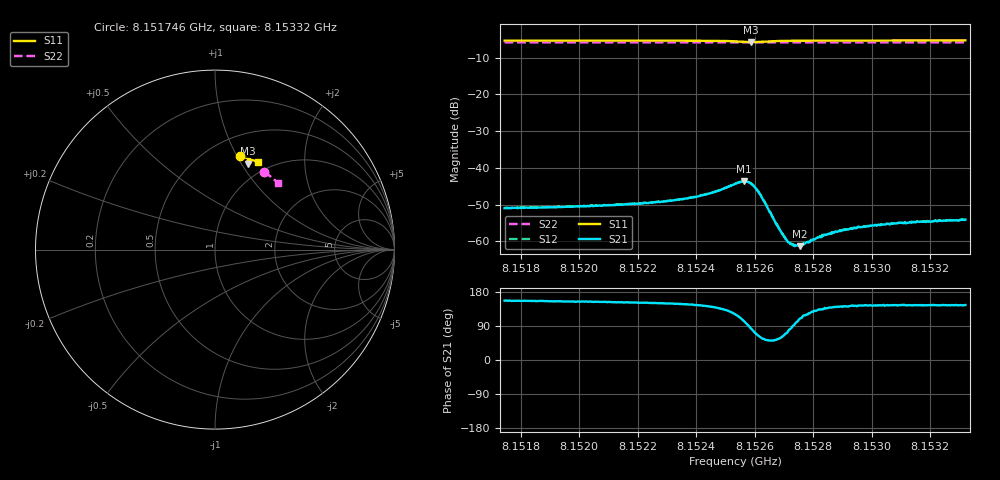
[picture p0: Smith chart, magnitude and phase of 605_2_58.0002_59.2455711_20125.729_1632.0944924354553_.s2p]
#  HZ  S  RI  R  50.00
! Rohde & Schwarz Vector Network Analyzer
! Rohde-Schwarz,ZNB20-2Port,1311601062101988,3.16
! Created: UTC 3/21/2024, 1:17:23 AM
! freq[Hz]  re:S11  im:S11  re:S21  im:S21  re:S12  im:S12  re:S22  im:S22
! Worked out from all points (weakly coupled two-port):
!   401 points, 8.151746 GHz to 8.15332 GHz, reference 50 ohm
!   highest |S21| = -43.69 dB at 8.152564 GHz (marker M1); lowest = -61.2 dB at 8.152753 GHz (marker M2)
!   lowest |S11| = -5.8 dB at 8.152588 GHz (marker M3), VSWR 3.11, Z = 41.2 + j53.6 ohm
!   |S11| at or under -10 dB: nowhere
!   |S22| runs from -5.8 to -5.8 dB; largest |S21 - S12| = 0.00013
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8.1517455e9  0.1405 0.5216  -0.0026 0.00113  -0.00259 0.0012  0.2734 0.4332
8.1520092e9  0.159 0.5166  -0.00271 0.00131  -0.00268 0.00136  0.2873 0.4235
8.152273e9  0.1782 0.5101  -0.00298 0.00173  -0.00301 0.00178  0.301 0.4135
8.1523359e9  0.1833 0.508  -0.00313 0.00194  -0.00309 0.00198  0.3041 0.4112
8.1524029e9  0.1892 0.5049  -0.00334 0.00233  -0.00333 0.00243  0.3076 0.4083
8.1524737e9  0.1958 0.4993  -0.00356 0.00329  -0.00356 0.00335  0.3111 0.4053
8.1525328e9  0.1995 0.4884  -0.00311 0.00518  -0.00309 0.00525  0.314 0.4026
8.1525642e9  0.1942 0.4802  -0.00135 0.0064  -0.00132 0.00646  0.3151 0.4012
8.1525879e9  0.1853 0.4793  0.000784 0.00604  0.000867 0.00608  0.3158 0.4005
8.1526036e9  0.1803 0.4831  0.00181 0.00497  0.00184 0.00501  0.3165 0.4
8.1526194e9  0.1783 0.4885  0.00217 0.00373  0.00221 0.00373  0.3174 0.3997
8.1526784e9  0.1856 0.4997  0.000922 0.00132  0.00101 0.00132  0.3206 0.3976
8.1527059e9  0.1899 0.5011  0.000368 0.00102  0.000382 0.001  0.3219 0.3967
8.1527178e9  0.1915 0.5013  0.00017 0.000944  0.000203 0.00095  0.3225 0.396
8.1527296e9  0.193 0.5014  4.53e-06 0.000893  3.91e-05 0.000919  0.3232 0.3956
8.1527532e9  0.1959 0.5014  -0.000271 0.000825  -0.000254 0.000824  0.3243 0.3948
8.1527965e9  0.2003 0.5009  -0.000638 0.000821  -0.000627 0.000845  0.3264 0.3929
8.152828e9  0.2034 0.5003  -0.000777 0.000832  -0.000784 0.000846  0.328 0.3915
8.1528949e9  0.209 0.4987  -0.0011 0.000874  -0.00106 0.000877  0.3312 0.3887
8.1529579e9  0.2139 0.4971  -0.00126 0.000929  -0.00125 0.000952  0.3342 0.3859
8.1530602e9  0.2212 0.4944  -0.00139 0.000996  -0.00139 0.00102  0.3391 0.3816
8.15332e9  0.2388 0.4868  -0.00162 0.00113  -0.00158 0.00116  0.3511 0.3702
